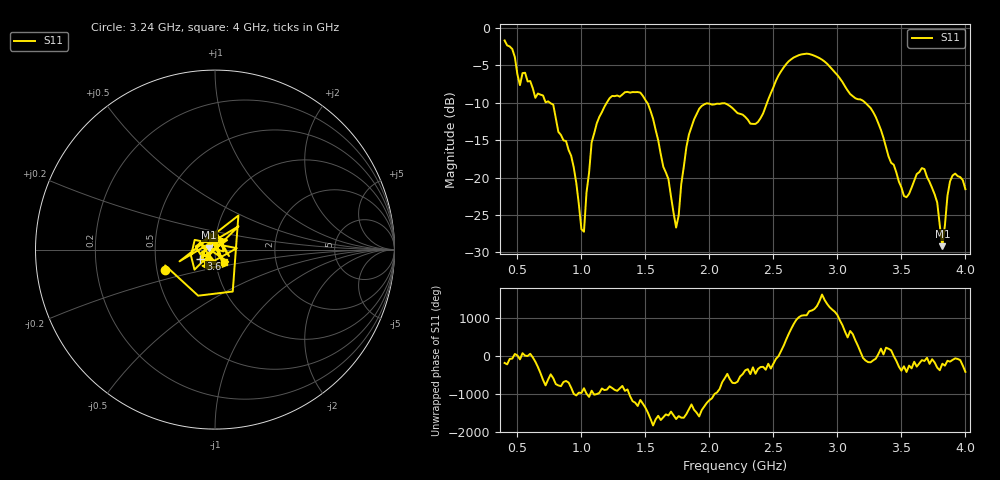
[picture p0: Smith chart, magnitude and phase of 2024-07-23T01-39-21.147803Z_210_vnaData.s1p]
!Created with skrf (http://scikit-rf.org).
# Hz S RI R 50.0
!freq ReS11 ImS11
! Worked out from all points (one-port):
!   181 points, 400 MHz to 4 GHz, reference 50 ohm
!   lowest |S11| = -29.2 dB at 3.82 GHz (marker M1), VSWR 1.07, Z = 46.8 + j1.08 ohm
!   |S11| at or under -10 dB: 753.9 MHz to 1.198 GHz (444.1 MHz wide, 45.5 % of centre); 1.514 GHz to 2.45 GHz (936.1 MHz wide, 47.2 % of centre); 3.218 GHz to end of sweep
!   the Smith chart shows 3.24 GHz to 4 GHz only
!   S11 on the Smith chart (normalised r, x): 3.24 GHz: 0.55, -0.14; 3.6 GHz: 0.85, -0.09; 4 GHz: 1.09, -0.15
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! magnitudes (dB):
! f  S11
! 400 MHz  -1.7
! 520 MHz  -7.6
! 560 MHz  -6.0
! 780 MHz  -10.3
! 860 MHz  -15.0
! 920 MHz  -17.1
! 1.02 GHz  -27.2
! 1.08 GHz  -15.3
! 1.2 GHz  -9.9
! 1.3 GHz  -9.2
! 1.52 GHz  -10.1
! 1.74 GHz  -26.7
! 1.76 GHz  -25.0
! 1.82 GHz  -16.0
! 1.92 GHz  -10.8
! 2.2 GHz  -11.0
! 2.38 GHz  -12.6
! 2.66 GHz  -3.9
! 2.88 GHz  -4.2
! 3.1 GHz  -8.8
! 3.24 GHz  -10.4
! 3.56 GHz  -22.2
! 3.6 GHz  -20.4
! 3.68 GHz  -18.9
! 3.78 GHz  -23.3
! 3.82 GHz  -29.2
! 3.88 GHz  -20.5
! 4 GHz  -21.5
